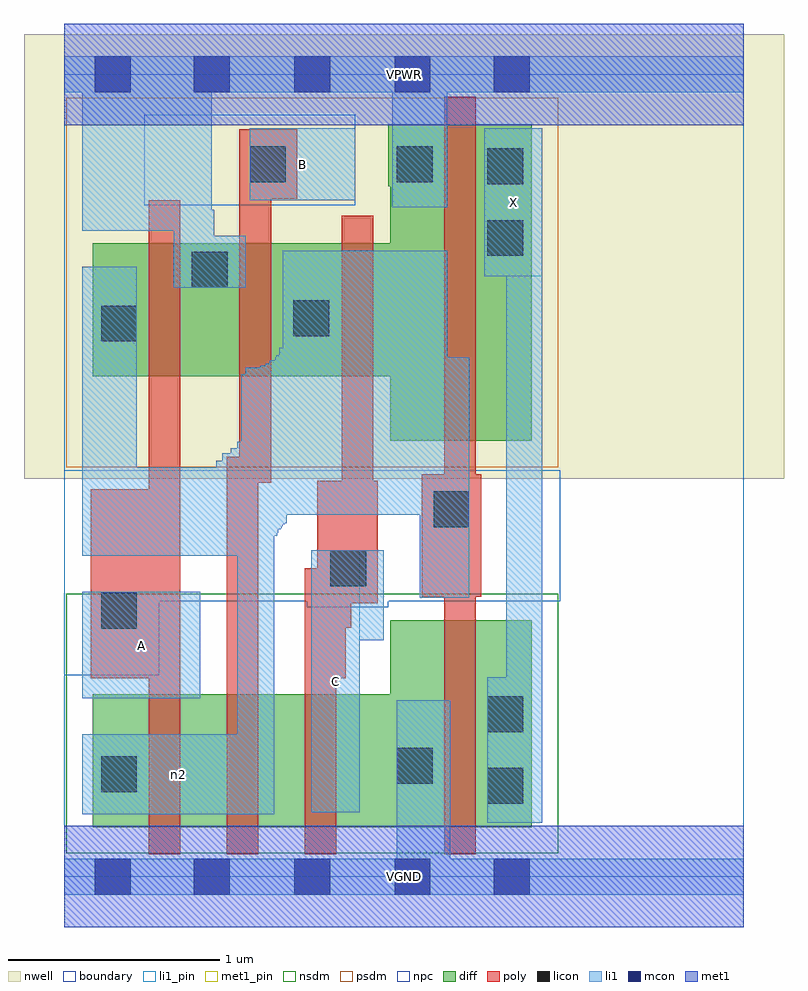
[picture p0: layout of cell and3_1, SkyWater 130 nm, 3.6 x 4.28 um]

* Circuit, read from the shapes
.subckt and3_1 A B C VGND VPWR X n2
XM1 n1 A n2 VSUBS sky130_fd_pr__nfet_01v8 w=0.63 l=0.15
XM2 n3 B n1 VSUBS sky130_fd_pr__nfet_01v8 w=0.63 l=0.15
XM3 VGND C n3 VSUBS sky130_fd_pr__nfet_01v8 w=0.63 l=0.15
XM4 X n2 VGND VSUBS sky130_fd_pr__nfet_01v8 w=0.98 l=0.15
XM5 VPWR A n2 n4 sky130_fd_pr__pfet_01v8 w=0.63 l=0.15
XM6 n2 B VPWR n4 sky130_fd_pr__pfet_01v8 w=0.63 l=0.15
XM7 VPWR C n2 n4 sky130_fd_pr__pfet_01v8 w=0.63 l=0.15
XM8 X n2 VPWR n4 sky130_fd_pr__pfet_01v8 w=1.5 l=0.15
.ends

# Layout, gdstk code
import gdstk
lib = gdstk.Library(unit=1e-6, precision=1e-09)
def R(c, l, rs):  # rectangles x0, y0, x1, y1
    for r in rs: c.add(gdstk.rectangle(r[:2], r[2:], *l))
def A(c, l, x, y, w, h, nx, ny, dx, dy):  # array of equal rectangles
    R(c, l, [(x+i*dx, y+j*dy, x+i*dx+w, y+j*dy+h) for i in range(nx) for j in range(ny)])
nwell = (64, 20)
diff = (65, 20)
poly = (66, 20)
licon = (66, 44)
li1_pin = (67, 16)
li1 = (67, 20)
mcon = (67, 44)
met1_pin = (68, 16)
met1 = (68, 20)
nsdm = (93, 44)
psdm = (94, 20)
npc = (95, 20)
boundary = (235, 4)

and3_1 = lib.new_cell('and3_1')
R(and3_1, nwell, [(-0.19,1.885,3.41,3.99), (0,1.885,3.22,3.99)])
R(and3_1, diff, [(0.135,0.235,2.215,0.865), (1.545,0.235,2.215,1.215), (1.545,2.065,2.215,3.565), (0.135,2.37,2.215,3), (1.535,3.27,2.215,3.565)])
R(and3_1, poly, [(0.4,0.105,0.55,3.205), (0.77,0.105,0.92,1.99), (1.14,0.105,1.29,1.46), (1.8,0.105,1.95,3.695), (0.125,0.94,0.55,1.835), (1.2,0.94,1.335,1.875), (1.2,1.18,1.36,1.875), (1.2,1.295,1.485,1.875), (1.315,1.295,1.465,3.13), (1.695,1.325,1.975,1.905), (0.83,1.865,0.98,3.54), (0.83,3.21,1.105,3.54)])
R(and3_1, licon, [(2.005,0.345,2.175,0.515), (0.175,0.4,0.345,0.57), (1.575,0.44,1.745,0.61), (2.005,0.685,2.175,0.855), (0.175,1.175,0.345,1.345), (1.26,1.375,1.43,1.545), (1.75,1.655,1.92,1.825), (0.175,2.535,0.345,2.705), (1.085,2.56,1.255,2.73), (0.605,2.79,0.775,2.96), (2.005,2.94,2.175,3.11), (2.005,3.28,2.175,3.45), (0.88,3.29,1.05,3.46), (1.575,3.29,1.745,3.46)])
R(and3_1, li1_pin, [(1.17,0.305,1.4,1.545), (0.085,0.845,0.645,1.35), (1.99,2.845,2.265,3.545), (0.88,3.205,1.38,3.545)])
R(and3_1, li1, [(0,-0.085,3.22,0.085), (1.575,-0.085,1.83,0.835), (2.005,0.255,2.265,0.945), (2.095,0.255,2.265,3.545), (0.085,0.295,0.995,0.675), (0.82,0.295,0.995,2.06), (0.84,0.295,0.995,2.38), (1.17,0.305,1.4,1.545), (0.085,0.845,0.645,1.35), (1.17,1.12,1.515,1.545), (1.685,1.32,1.92,2.46), (0.085,1.52,0.345,2.89), (0.085,1.52,0.995,1.94), (0.75,1.52,0.995,2.005), (0.72,1.615,1.01,1.97), (0.72,1.63,1.015,1.97), (0.72,1.645,1.025,1.97), (0.72,1.65,1.03,1.97), (0.72,1.66,1.035,1.97), (0.72,1.67,1.045,1.97), (0.72,1.675,1.055,1.97), (0.79,1.715,1.92,2.03), (0.86,1.715,1.92,2.41), (0.93,1.715,1.92,2.42), (0.955,1.715,1.92,2.43), (1.005,1.715,1.815,2.47), (1.02,1.715,1.815,2.505), (1.035,1.715,1.815,2.965), (0.975,1.84,1,2.445), (1,1.935,1.065,2.46), (1,1.945,1.08,2.46), (1,1.95,1.095,2.46), (1,1.96,1.12,2.46), (0.52,2.79,0.86,3.035), (0.52,2.79,0.71,3.16), (1.99,2.845,2.265,3.545), (0.085,3.06,0.7,3.715), (1.555,3.17,1.815,3.885), (0.88,3.205,1.38,3.545), (0,3.715,3.22,3.885)])
A(and3_1, mcon, 0.615, -0.085, 0.17, 0.17, 3, 2, 0.475, 3.8)
R(and3_1, mcon, [(0.145,-0.085,0.315,0.085), (2.035,-0.085,2.205,0.085), (0.145,3.715,0.315,3.885), (2.035,3.715,2.205,3.885)])
R(and3_1, met1_pin, [(0,-0.24,3.22,0.24), (0,3.56,3.22,4.04)])
R(and3_1, met1, [(0,-0.24,3.22,0.24), (0,3.56,3.22,4.04)])
R(and3_1, nsdm, [(0.01,0.11,2.34,1.34)])
R(and3_1, psdm, [(0.01,1.94,2.34,3.69)])
R(and3_1, npc, [(0,0.955,0.45,1.925), (1.15,1.275,1.535,1.925), (0,1.305,2.35,1.925), (0.38,3.18,1.38,3.61)])
R(and3_1, boundary, [(0,0,3.22,3.8)])
and3_1.add(gdstk.Label('A', (0.365,1.097), layer=67, texttype=5))
and3_1.add(gdstk.Label('B', (1.13,3.375), layer=67, texttype=5))
and3_1.add(gdstk.Label('C', (1.285,0.925), layer=67, texttype=5))
and3_1.add(gdstk.Label('X', (2.127,3.195), layer=67, texttype=5))
and3_1.add(gdstk.Label('n2', (0.54,0.485), layer=67, texttype=5))
and3_1.add(gdstk.Label('VPWR', (1.61,3.8), layer=68, texttype=5))
and3_1.add(gdstk.Label('VGND', (1.61,0), layer=68, texttype=5))
and3_1.add(gdstk.Label('A', (0.365,1.097), layer=67, texttype=16))
and3_1.add(gdstk.Label('B', (1.13,3.375), layer=67, texttype=16))
and3_1.add(gdstk.Label('C', (1.285,0.925), layer=67, texttype=16))
and3_1.add(gdstk.Label('X', (2.127,3.195), layer=67, texttype=16))
and3_1.add(gdstk.Label('VPWR', (1.61,3.8), layer=68, texttype=16))
and3_1.add(gdstk.Label('VGND', (1.61,0), layer=68, texttype=16))

lib.write_gds('and3_1.gds')
